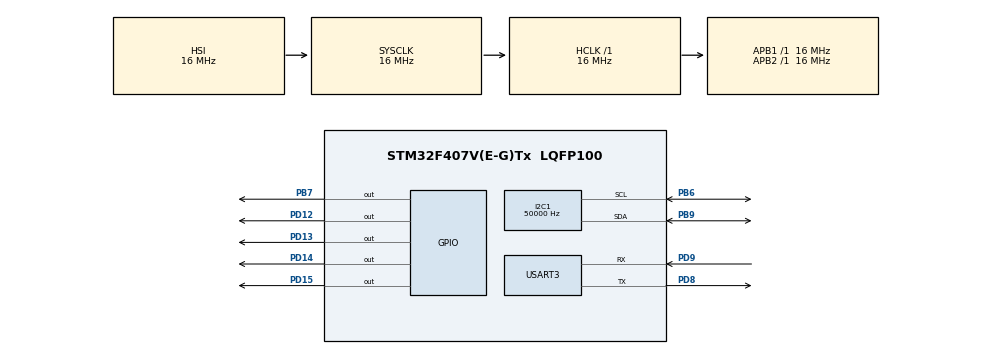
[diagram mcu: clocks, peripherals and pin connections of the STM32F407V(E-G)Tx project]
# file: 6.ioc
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I2C1.ClockSpeed=50000
I2C1.I2C_Mode=I2C_Standard
Mcu.Family=STM32F4
Mcu.Name=STM32F407V(E-G)Tx
Mcu.Package=LQFP100
NVIC.PriorityGroup=NVIC_PRIORITYGROUP_4
PB6.Mode=I2C
PB6.Signal=I2C1_SCL
PB7.Signal=GPIO_Output
PB9.Mode=I2C
PB9.Signal=I2C1_SDA
PD12.Signal=GPIO_Output
PD13.Signal=GPIO_Output
PD14.Signal=GPIO_Output
PD15.Signal=GPIO_Output
PD8.Mode=Asynchronous
PD8.Signal=USART3_TX
PD9.Mode=Asynchronous
PD9.Signal=USART3_RX
ProjectManager.HeapSize=0x200
ProjectManager.StackSize=0x400
ProjectManager.TargetToolchain=STM32CubeIDE
RCC.AHBFreq_Value=16000000
RCC.APB1Freq_Value=16000000
RCC.APB2Freq_Value=16000000
RCC.CortexFreq_Value=16000000
RCC.HSE_VALUE=25000000
RCC.HSI_VALUE=16000000
RCC.LSE_VALUE=32768
RCC.SYSCLKFreq_VALUE=16000000
RCC.VCOOutputFreq_Value=192000000
USART3.VirtualMode=VM_ASYNC
board=custom

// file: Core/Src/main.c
/* USER CODE BEGIN Header */
/**
 ******************************************************************************
 * @file           : main.c
 * @brief          : Main program body
 ******************************************************************************
 * @attention
 *
 * <h2><center>&copy; Copyright (c) 2021 STMicroelectronics.
 * All rights reserved.</center></h2>
 *
 * This software component is licensed by ST under BSD 3-Clause license,
 * the "License"; You may not use this file except in compliance with the
 * License. You may obtain a copy of the License at:
 *                        opensource.org/licenses/BSD-3-Clause
 *
 ******************************************************************************
 */
/* USER CODE END Header */
#include "main.h"

I2C_HandleTypeDef hi2c1;

UART_HandleTypeDef huart3;

void SystemClock_Config(void);
static void MX_GPIO_Init(void);
static void MX_I2C1_Init(void);
static void MX_USART3_UART_Init(void);

int main(void) {

	/* MCU Configuration--------------------------------------------------------*/

	/* Reset of all peripherals, Initializes the Flash interface and the Systick. */
	HAL_Init();

	/* Configure the system clock */
	SystemClock_Config();

	/* Initialize all configured peripherals */
	MX_GPIO_Init();
	MX_I2C1_Init();
	MX_USART3_UART_Init();
	/* USER CODE BEGIN 2 */
	HAL_Delay(100);

	/* USER CODE END 2 */

	/* Infinite loop */
	/* USER CODE BEGIN WHILE */

	HAL_StatusTypeDef status;
	uint8_t buff[1];
	uint16_t Duty = 50;
	uint16_t Freq = 224;
	int8_t isOff = 0;
	while (1) {
		status = HAL_UART_Receive(&huart3, buff, 1, 10);
		if (status == HAL_OK) {
			switch (buff[0]) {
			case '1':
				if (Freq < 1524) {
					Freq += 100;
					setFreq(Freq);
					HAL_UART_Transmit(&huart3,
							(uint8_t*) "Frequency increased by 100\r\n", 28,
							10);
				} else
					HAL_UART_Transmit(&huart3,
							(uint8_t*) "Frequency can not be increased\r\n", 32,
							10);
				break;
			case '2':
				if (Freq > 24) {
					Freq -= 100;
					setFreq(Freq);
					HAL_UART_Transmit(&huart3,
							(uint8_t*) "Frequency decreased by 100\r\n", 28,
							10);
				} else
					HAL_UART_Transmit(&huart3,
							(uint8_t*) "Frequency can not be decreased\r\n", 32,
							10);
				break;
			case '3':
				if (Duty < 100) {
					Duty += 10;
					setDuty(Duty);
					HAL_UART_Transmit(&huart3,
							(uint8_t*) "Duty increased by 10%\r\n", 23, 10);
				} else
					HAL_UART_Transmit(&huart3,
							(uint8_t*) "Duty can not be increased\r\n", 27, 10);
				break;
			case '4':
				if (Duty > 0) {
					Duty -= 10;
					setDuty(Duty);
					HAL_UART_Transmit(&huart3,
							(uint8_t*) "Duty decreased by 10%\r\n", 23, 10);
				} else
					HAL_UART_Transmit(&huart3,
							(uint8_t*) "Duty can not be decreased\r\n", 27, 10);
				break;
			case '0':
				if (isOff == 0) {
					isOff = 1;
					turnOff();
					HAL_UART_Transmit(&huart3, (uint8_t*) "Signal off\r\n", 12,
							10);
				} else {
					isOff = 0;
					setDuty(Duty);
					HAL_UART_Transmit(&huart3, (uint8_t*) "Signal on\r\n", 11,
							10);
				}
				break;
			default:
				break;
			}
		}
		/* USER CODE END WHILE */

	}
}

void SystemClock_Config(void) {
	RCC_OscInitTypeDef RCC_OscInitStruct = { 0 };
	RCC_ClkInitTypeDef RCC_ClkInitStruct = { 0 };

	/** Configure the main internal regulator output voltage
	 */
	__HAL_RCC_PWR_CLK_ENABLE();
	__HAL_PWR_VOLTAGESCALING_CONFIG(PWR_REGULATOR_VOLTAGE_SCALE1);
	/** Initializes the RCC Oscillators according to the specified parameters
	 * in the RCC_OscInitTypeDef structure.
	 */
	RCC_OscInitStruct.OscillatorType = RCC_OSCILLATORTYPE_HSI;
	RCC_OscInitStruct.HSIState = RCC_HSI_ON;
	RCC_OscInitStruct.HSICalibrationValue = RCC_HSICALIBRATION_DEFAULT;
	RCC_OscInitStruct.PLL.PLLState = RCC_PLL_NONE;
	if (HAL_RCC_OscConfig(&RCC_OscInitStruct) != HAL_OK) {
		Error_Handler();
	}
	/** Initializes the CPU, AHB and APB buses clocks
	 */
	RCC_ClkInitStruct.ClockType = RCC_CLOCKTYPE_HCLK | RCC_CLOCKTYPE_SYSCLK
			| RCC_CLOCKTYPE_PCLK1 | RCC_CLOCKTYPE_PCLK2;
	RCC_ClkInitStruct.SYSCLKSource = RCC_SYSCLKSOURCE_HSI;
	RCC_ClkInitStruct.AHBCLKDivider = RCC_SYSCLK_DIV1;
	RCC_ClkInitStruct.APB1CLKDivider = RCC_HCLK_DIV1;
	RCC_ClkInitStruct.APB2CLKDivider = RCC_HCLK_DIV1;

	if (HAL_RCC_ClockConfig(&RCC_ClkInitStruct, FLASH_LATENCY_0) != HAL_OK) {
		Error_Handler();
	}
}

static void MX_I2C1_Init(void) {

	hi2c1.Instance = I2C1;
	hi2c1.Init.ClockSpeed = 50000;
	hi2c1.Init.DutyCycle = I2C_DUTYCYCLE_2;
	hi2c1.Init.OwnAddress1 = 0;
	hi2c1.Init.AddressingMode = I2C_ADDRESSINGMODE_7BIT;
	hi2c1.Init.DualAddressMode = I2C_DUALADDRESS_DISABLE;
	hi2c1.Init.OwnAddress2 = 0;
	hi2c1.Init.GeneralCallMode = I2C_GENERALCALL_DISABLE;
	hi2c1.Init.NoStretchMode = I2C_NOSTRETCH_DISABLE;
	if (HAL_I2C_Init(&hi2c1) != HAL_OK) {
		Error_Handler();
	}

}

static void MX_USART3_UART_Init(void) {

	huart3.Instance = USART3;
	huart3.Init.BaudRate = 115200;
	huart3.Init.WordLength = UART_WORDLENGTH_8B;
	huart3.Init.StopBits = UART_STOPBITS_1;
	huart3.Init.Parity = UART_PARITY_NONE;
	huart3.Init.Mode = UART_MODE_TX_RX;
	huart3.Init.HwFlowCtl = UART_HWCONTROL_NONE;
	huart3.Init.OverSampling = UART_OVERSAMPLING_16;
	if (HAL_UART_Init(&huart3) != HAL_OK) {
		Error_Handler();
	}

}

static void MX_GPIO_Init(void) {
	GPIO_InitTypeDef GPIO_InitStruct = { 0 };

	/* GPIO Ports Clock Enable */
	__HAL_RCC_GPIOD_CLK_ENABLE();
	__HAL_RCC_GPIOB_CLK_ENABLE();

	/*Configure GPIO pin Output Level */
	HAL_GPIO_WritePin(GPIOD,
			GPIO_PIN_12 | GPIO_PIN_13 | GPIO_PIN_14 | GPIO_PIN_15,
			GPIO_PIN_RESET);

	/*Configure GPIO pin Output Level */
	HAL_GPIO_WritePin(GPIOB, GPIO_PIN_7, GPIO_PIN_RESET);

	/*Configure GPIO pins : PD12 PD13 PD14 PD15 */
	GPIO_InitStruct.Pin = GPIO_PIN_12 | GPIO_PIN_13 | GPIO_PIN_14 | GPIO_PIN_15;
	GPIO_InitStruct.Mode = GPIO_MODE_OUTPUT_PP;
	GPIO_InitStruct.Pull = GPIO_NOPULL;
	GPIO_InitStruct.Speed = GPIO_SPEED_FREQ_LOW;
	HAL_GPIO_Init(GPIOD, &GPIO_InitStruct);

	/*Configure GPIO pin : PB7 */
	GPIO_InitStruct.Pin = GPIO_PIN_7;
	GPIO_InitStruct.Mode = GPIO_MODE_OUTPUT_PP;
	GPIO_InitStruct.Pull = GPIO_NOPULL;
	GPIO_InitStruct.Speed = GPIO_SPEED_FREQ_LOW;
	HAL_GPIO_Init(GPIOB, &GPIO_InitStruct);

}

void Error_Handler(void) {
	__disable_irq();
	while (1) {
	}
}

/************************ (C) COPYRIGHT STMicroelectronics *****END OF FILE****/
